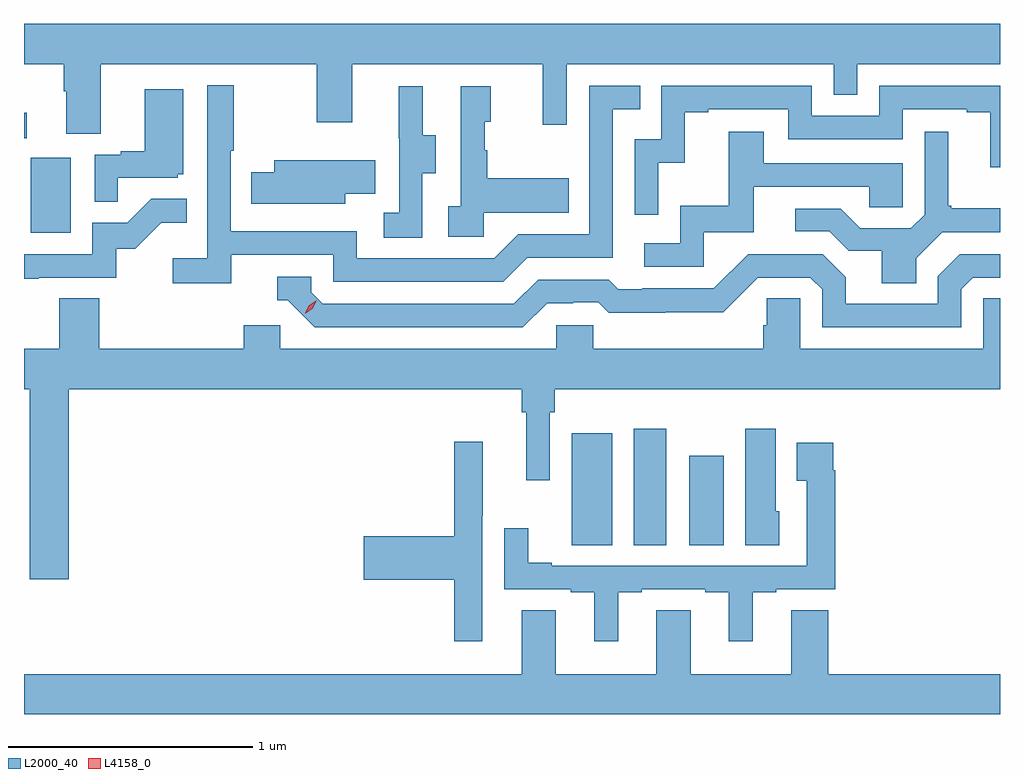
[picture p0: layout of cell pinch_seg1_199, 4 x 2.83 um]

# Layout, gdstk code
import gdstk
lib = gdstk.Library(unit=1e-6, precision=1e-09)
def R(c, l, rs):  # rectangles x0, y0, x1, y1
    for r in rs: c.add(gdstk.rectangle(r[:2], r[2:], *l))
def P(c, l, *ps):  # polygons
    for p in ps: c.add(gdstk.Polygon(p, *l))
L2000_40 = (2000, 40)
L4158_0 = (4158, 0)

pinch_seg1_199 = lib.new_cell('pinch_seg1_199')
R(pinch_seg1_199, L2000_40, [(995.819,572.404,995.986,572.863), (996.074,572.404,996.208,572.881), (996.302,572.404,996.442,572.77), (993.602,573.684,993.766,573.991), (993.575,574.071,993.586,574.177)])
P(pinch_seg1_199, L2000_40, [(993.889,574.376),(994.774,574.376),(994.774,574.137),(994.921,574.137),(994.921,574.376),(995.702,574.376),(995.702,574.128),(995.799,574.128),(995.799,574.376),(996.894,574.376),(996.894,574.249),(996.99,574.249),(996.99,574.376),(997.575,574.376),(997.575,574.54),(993.575,574.54),(993.575,574.376),(993.737,574.376),(993.737,574.264),(993.749,574.264),(993.749,574.09),(993.889,574.09)],
  [(994.424,573.594),(994.842,573.594),(994.842,573.483),(995.539,573.483),(995.638,573.582),(995.988,573.582),(995.988,574.191),(996.101,574.191),(996.101,574.287),(995.892,574.287),(995.892,573.678),(995.601,573.678),(995.502,573.579),(994.938,573.579),(994.938,573.69),(994.422,573.69),(994.422,574.021),(994.435,574.021),(994.435,574.288),(994.326,574.288),(994.326,573.58),(994.185,573.58),(994.185,573.478),(994.424,573.478)],
  [(996.174,573.971),(996.284,573.971),(996.284,574.179),(996.379,574.179),(996.379,574.191),(996.708,574.191),(996.708,574.068),(997.176,574.068),(997.176,574.191),(997.439,574.191),(997.439,574.179),(997.535,574.179),(997.535,573.953),(997.575,573.953),(997.575,574.287),(997.08,574.287),(997.08,574.164),(996.804,574.164),(996.804,574.287),(996.186,574.287),(996.186,574.068),(996.078,574.068),(996.078,573.759),(996.174,573.759)],
  [(995.208,573.928),(995.263,573.928),(995.263,574.083),(995.209,574.083),(995.209,574.285),(995.111,574.285),(995.111,574.071),(995.112,574.071),(995.112,573.767),(995.049,573.767),(995.049,573.664),(995.208,573.664)],
  [(995.46,573.767),(995.807,573.767),(995.807,573.907),(995.473,573.907),(995.473,574.022),(995.463,574.022),(995.463,574.14),(995.488,574.14),(995.488,574.285),(995.364,574.285),(995.364,573.794),(995.313,573.794),(995.313,573.669),(995.46,573.669)],
  [(993.959,573.909),(994.206,573.909),(994.206,573.924),(994.228,573.924),(994.228,574.273),(994.07,574.273),(994.07,574.018),(993.971,574.018),(993.971,574.005),(993.864,574.005),(993.864,573.811),(993.959,573.811)],
  [(996.36,573.687),(996.565,573.687),(996.565,573.873),(997.039,573.873),(997.039,573.789),(997.176,573.789),(997.176,573.969),(996.607,573.969),(996.607,574.099),(996.463,574.099),(996.463,573.796),(996.264,573.796),(996.264,573.642),(996.117,573.642),(996.117,573.546),(996.36,573.546)],
  [(997.231,573.58),(997.338,573.687),(997.575,573.687),(997.575,573.784),(997.375,573.784),(997.375,573.796),(997.363,573.796),(997.363,574.099),(997.266,574.099),(997.266,573.759),(997.209,573.702),(997.003,573.702),(996.922,573.783),(996.735,573.783),(996.735,573.69),(996.876,573.69),(996.956,573.61),(997.091,573.61),(997.091,573.478),(997.231,573.478)],
  [(994.891,573.845),(995.015,573.845),(995.015,573.982),(994.601,573.982),(994.601,573.933),(994.507,573.933),(994.507,573.803),(994.891,573.803)],
  [(993.635,573.501),(993.954,573.501),(993.954,573.618),(994.03,573.618),(994.137,573.725),(994.241,573.725),(994.241,573.824),(994.097,573.824),(993.999,573.726),(993.855,573.726),(993.855,573.597),(993.575,573.597),(993.575,573.496),(993.635,573.496)],
  [(995.719,573.396),(995.826,573.396),(995.826,573.399),(995.929,573.399),(995.971,573.357),(996.204,573.357),(996.204,573.359),(996.44,573.359),(996.582,573.501),(996.798,573.501),(996.846,573.453),(996.846,573.297),(997.416,573.297),(997.416,573.453),(997.464,573.501),(997.575,573.501),(997.575,573.597),(997.41,573.597),(997.32,573.507),(997.32,573.393),(996.943,573.393),(996.943,573.503),(996.849,573.597),(996.543,573.597),(996.402,573.456),(996.109,573.456),(996.109,573.453),(996.01,573.453),(995.971,573.492),(995.682,573.492),(995.583,573.393),(994.8,573.393),(994.752,573.441),(994.752,573.504),(994.613,573.504),(994.613,573.408),(994.656,573.408),(994.767,573.297),(995.62,573.297)],
  [(993.758,573.044),(995.614,573.044),(995.614,572.948),(995.633,572.948),(995.633,572.67),(995.73,572.67),(995.73,572.948),(995.75,572.948),(995.75,573.044),(997.575,573.044),(997.575,573.416),(997.506,573.416),(997.506,573.208),(996.756,573.208),(996.756,573.416),(996.619,573.416),(996.619,573.306),(996.605,573.306),(996.605,573.208),(995.907,573.208),(995.907,573.306),(995.757,573.306),(995.757,573.208),(994.626,573.208),(994.626,573.306),(994.475,573.306),(994.475,573.208),(993.884,573.208),(993.884,573.416),(993.719,573.416),(993.719,573.208),(993.575,573.208),(993.575,573.044),(993.598,573.044),(993.598,572.265),(993.758,572.265)],
  [(996.67,572.544),(996.655,572.544),(996.655,572.881),(996.53,572.881),(996.53,572.404),(996.67,572.404)],
  [(995.454,572.524),(995.456,572.524),(995.456,572.827),(995.338,572.827),(995.338,572.441),(994.968,572.441),(994.968,572.263),(995.338,572.263),(995.338,572.01),(995.454,572.01)],
  [(996.01,572.211),(996.106,572.211),(996.106,572.223),(996.368,572.223),(996.368,572.211),(996.464,572.211),(996.464,572.01),(996.562,572.01),(996.562,572.211),(996.658,572.211),(996.658,572.223),(996.899,572.223),(996.899,572.711),(996.892,572.711),(996.892,572.824),(996.743,572.824),(996.743,572.668),(996.783,572.668),(996.783,572.319),(995.737,572.319),(995.737,572.332),(995.641,572.332),(995.641,572.473),(995.544,572.473),(995.544,572.223),(995.816,572.223),(995.816,572.211),(995.912,572.211),(995.912,572.01),(996.01,572.01)],
  [(997.575,571.876),(996.872,571.876),(996.872,572.138),(996.719,572.138),(996.719,571.876),(996.307,571.876),(996.307,572.138),(996.167,572.138),(996.167,571.876),(995.755,571.876),(995.755,572.138),(995.615,572.138),(995.615,571.876),(993.575,571.876),(993.575,571.712),(997.575,571.712)])
P(pinch_seg1_199, L4158_0, [(994.728,573.355),(994.728,573.356),(994.744,573.388),(994.775,573.408),(994.775,573.408),(994.775,573.407),(994.759,573.375),(994.729,573.355)])

lib.write_gds('pinch_seg1_199.gds')
